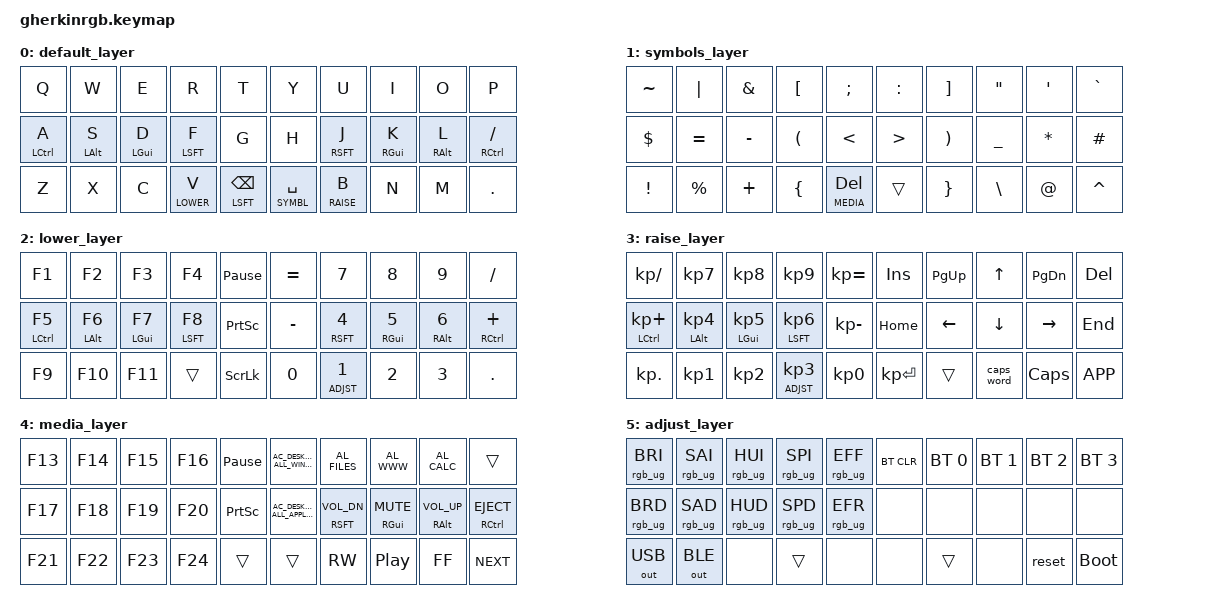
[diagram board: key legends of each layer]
/*
 * Copyright (c) 2021-22 purple-rw
 *
 * SPDX-License-Identifier: MIT
 */

#include <behaviors.dtsi>
#include <dt-bindings/zmk/keys.h>
#include <dt-bindings/zmk/bt.h>
#include <dt-bindings/zmk/outputs.h>
#include <dt-bindings/zmk/rgb.h>
#include <dt-bindings/zmk/backlight.h>

#define BASE  0     // alphas (Qwerty)
#define SYMBL 1     // symbols
#define LOWER 2     // functions & numbers
#define RAISE 3     // keypad & navigation
#define MEDIA 4     // functions2 & multimedia
#define ADJST 5     // lighting & bluetooth

// Special keys
#define ZOOMOUT      LA(LG(MINUS))
#define ZOOMIN       LA(LG(EQUAL))
#define M_UNDO       LG(Z)
#define M_CUT        LG(X)
#define M_COPY       LG(C)
#define M_PASTE      LG(V)
#define M_SELALL     LG(A)
#define M_TMUX       LC(T)
#define NON_US_TILDE LS(NON_US_HASH)
#define NON_US_PIPE  LS(NON_US_BSLH)

&lt {
    tapping-term-ms = <200>;
    quick_tap_ms = <200>;
    flavor = "balanced";
};

&mt {
    tapping-term-ms = <200>;
    quick_tap_ms = <200>;
    flavor = "balanced";
};

&caps_word {
    continue-list = <UNDERSCORE BACKSPACE DELETE MINUS DOT>;
};

/ {
    behaviors {
        hm: homerow_mods {
            compatible = "zmk,behavior-hold-tap";
            label = "HOMEROW_MODS";
            #binding-cells = <2>;
            flavor = "tap-preferred";
            tapping-term-ms = <200>;
            quick-tap-ms = <200>;
            bindings = <&kp>, <&kp>;
        };

        ph: positional_hold_tap {
            compatible = "zmk,behavior-hold-tap";
            label = "POSITIONAL_HOLD_TAP";
            #binding-cells = <2>;
            flavor = "tap-preferred";
            tapping-term-ms = <200>;
            quick-tap-ms = <200>;
            bindings = <&kp>, <&kp>;
            hold-trigger-key-positions = < 5  6  7  8  9
                                          15 16 17 18 19
                                                27 28 29>;
        };

        th: thumb_hold_tap {
            compatible = "zmk,behavior-hold-tap";
            label = "THUMB_HOLD_TAP";
            #binding-cells = <2>;
            flavor = "balanced";
            tapping-term-ms = <200>;
            quick-tap-ms = <0>;         // no key repeat
            bindings = <&mo>, <&kp>;
        };

        combos {
            compatible = "zmk,combos";
            
// Qwerty (Horizontal Combos)
// -------------------------------------------------------------
// |     |<-  Esc  ->|     |     |     |     |     |     |     |
// |     |     |     |<-   B   ->|<-   N   ->|     |     |     |
// |     |<-  Tab  ->|<- Bkspc ->|<- Space ->|<- Enter ->|     |
// -------------------------------------------------------------
            combo_esc   { timeout-ms = <50>; key-positions = < 1  2>; bindings = <&kp ESC>;   layers = <BASE SYMBL>; };
            combo_tab   { timeout-ms = <50>; key-positions = <21 22>; bindings = <&kp TAB>;   layers = <BASE SYMBL>; };
            combo_bspc  { timeout-ms = <50>; key-positions = <23 24>; bindings = <&kp BSPC>;  layers = <BASE SYMBL>; };
            combo_space { timeout-ms = <50>; key-positions = <25 26>; bindings = <&kp SPACE>; layers = <BASE SYMBL>; };
            combo_enter { timeout-ms = <50>; key-positions = <27 28>; bindings = <&kp ENTER>; layers = <BASE SYMBL>; };
            combo_v     { timeout-ms = <50>; key-positions = <13 14>; bindings = <&kp V>;     layers = <BASE>; };
            combo_k     { timeout-ms = <50>; key-positions = <15 16>; bindings = <&kp K>;     layers = <BASE>; };

// Symbols (Horizontal Combos)
// -------------------------------------------------------------
// |     |     |     |     |     |     |     |     |     |     |
// |     |     |     |<-   /   ->|<-   ?   ->|     |     |     |
// |     |     |     |     |     |     |     |     |     |     |
// -------------------------------------------------------------
            combo_fslh  { timeout-ms = <50>; key-positions = <13 14>; bindings = <&kp FSLH>;  layers = <SYMBL>; };
            combo_qmark { timeout-ms = <50>; key-positions = <15 16>; bindings = <&kp QMARK>; layers = <SYMBL>; };

// Functions & Numbers (Horizontal Combos)
// -------------------------------------------------------------
// |     |     |     |     |     |<-   *   ->|     |     |     |
// |     |     |     |<-  F12  ->|<-   :   ->|     |     |     |
// |     |     |     |     |     |     |     |     |     |     |
// -------------------------------------------------------------
            combo_f12   { timeout-ms = <50>; key-positions = <13 14>; bindings = <&kp F12>;   layers = <LOWER>; };
            combo_star  { timeout-ms = <50>; key-positions = < 5  6>; bindings = <&kp STAR>;  layers = <LOWER>; };
            combo_colon { timeout-ms = <50>; key-positions = <15 16>; bindings = <&kp COLON>; layers = <LOWER>; };

// Keypad & Navigation (Horizontal Combos)
// -------------------------------------------------------------
// |     |     |     |<- NumLk ->|     |    Zm-   Zm+    |     |
// |     |     |     |<-   *   ->|     |     |     |     |     |
// |     |     |     |     |     |     |     |     |     |     |
// -------------------------------------------------------------
            combo_kpnum { timeout-ms = <50>; key-positions = < 3  4>; bindings = <&kp KP_NUM>;      layers = <RAISE>; };
            combo_kpmul { timeout-ms = <50>; key-positions = <13 14>; bindings = <&kp KP_MULTIPLY>; layers = <RAISE>; };
            combo_zmout { timeout-ms = <50>; key-positions = < 6  7>; bindings = <&kp ZOOMOUT>;     layers = <RAISE>; };
            combo_zmin  { timeout-ms = <50>; key-positions = < 7  8>; bindings = <&kp ZOOMIN>;      layers = <RAISE>; };

// Functions2 & Multimedia (Horizontal Combos)
// -------------------------------------------------------------
// |     |     |     |     |     |     |     |     |     |     |
// |     |     |     |<- ScrLk ->|<- Prev  ->|     |     |     |
// |     |     |     |     |     |     |     |     |     |     |
// -------------------------------------------------------------
            combo_slck  { timeout-ms = <50>; key-positions = <13 14>; bindings = <&kp SLCK>;    layers = <MEDIA>; };
            combo_prev  { timeout-ms = <50>; key-positions = <15 16>; bindings = <&kp C_PREV>;  layers = <MEDIA>; };


// Bluetooth & RGB (Horizontal Combos)
// -------------------------------------------------------------
// |<- Disp+ ->|     |     |     |     |    BT4   BT5   BT6    |
// |<- Disp- ->|     |     |     |     |     |     |     |     |
// |     |     |     |     |<-RGBTogl->|     |     |     |     |
// -------------------------------------------------------------
            combo_bt4   { timeout-ms = <50>; key-positions = < 6  7>; bindings = <&bt BT_SEL 4>;    layers = <ADJST>; };
            combo_bt5   { timeout-ms = <50>; key-positions = < 7  8>; bindings = <&bt BT_SEL 5>;    layers = <ADJST>; };
            combo_bt6   { timeout-ms = <50>; key-positions = < 8  9>; bindings = <&bt BT_SEL 6>;    layers = <ADJST>; };

            combo_dpinc { timeout-ms = <50>; key-positions = < 1  2>; bindings = <&kp C_BRI_INC>;   layers = <ADJST>; };
            combo_dpdec { timeout-ms = <50>; key-positions = <11 12>; bindings = <&kp C_BRI_DEC>;   layers = <ADJST>; };
            
            combo_toggl { timeout-ms = <50>; key-positions = <24 25>; bindings = <&rgb_ug RGB_TOG>; layers = <ADJST>; };
        };
    };

    keymap {
        compatible = "zmk,keymap";

        default_layer {
// (Hold)
// -------------------------------------------------------------
// |     |     |     |     |     |     |     |     |     |     |
// |LCtrl| LAlt| LGui|Shift|     |     |Shift| RGui| RAlt|RCtrl|
// |     |     |     |LOWER|LShft|SYMBL|RAISE|     |     |     |
// -------------------------------------------------------------
// Qwerty
// -------------------------------------------------------------
// |  Q  |  W  |  E  |  R  |  T  |  Y  |  U  |  I  |  O  |  P  |
// |  A  |  S  |  D  |  F  |  G  |  H  |  J  |  K  |  L  |  ;  |
// |  Z  |  X  |  C  |  V  |BkSpc|Space|  B  |  N  |  M  |  .  |
// -------------------------------------------------------------
            bindings = < 
    &kp Q       &kp W       &kp E       &kp R       &kp T         &kp Y           &kp U       &kp I       &kp O       &kp P
    &hm LCTRL A &hm LALT S  &hm LGUI D  &hm LSFT F  &kp G         &kp H           &hm RSFT J  &hm RGUI K  &hm RALT L  &hm RCTRL FSLH
    &kp Z       &kp X       &kp C       &lt LOWER V &mt LSFT BSPC &th SYMBL SPACE &lt RAISE B &kp N   &kp M  &kp DOT
            >;
        } ;
        
        symbols_layer {
// symbols
// -------------------------------------------------------------
// |  ~  |  |  |  &  |  [  |  ;  |  :  |  ]  |  "  |  '  |  `  |
// |  $  |  =  |  -  |  (  |  <  |  >  |  )  |  _  |  *  |  #  |
// |  !  |  %  |  +  |  {  | Del | *** |  }  |  \  |  @  |  ^  |
// -------------------------------------------------------------
            bindings = <
    &kp TILDE   &kp PIPE    &kp AMPS    &kp LBKT    &kp SEMI      &kp COLON   &kp RBKT    &kp DQT     &kp SQT     &kp GRAVE 
    &kp DLLR    &kp EQUAL   &kp MINUS   &kp LPAR    &kp LT        &kp GT      &kp RPAR    &kp UNDER   &kp STAR    &kp HASH
    &kp EXCL    &kp PRCNT   &kp PLUS    &kp LBRC    &lt MEDIA DEL &trans      &kp RBRC    &kp BSLH    &kp AT      &kp CARET
            >;
        };

        lower_layer {
// functions & numbers
// -------------------------------------------------------------
// | F1  | F2  | F3  | F4  |Pause|  =  |  7  |  8  |  9  |  /  |
// | F5  | F6  | F7  | F8  |PrnSc|  -  |  4  |  5  |  6  |  +  |
// | F9  | F10 | F11 | *** |ScrLk|  0  |  1  |  2  |  3  |  .  |
// -------------------------------------------------------------
            bindings = <
    &kp F1       &kp F2       &kp F3       &kp F4       &kp PAUSE_BREAK &kp EQUAL    &kp N7       &kp N8       &kp N9       &kp FSLH
    &hm LCTRL F5 &hm LALT F6  &hm LGUI F7  &hm LSFT F8  &kp PSCRN       &kp MINUS    &hm RSFT N4  &hm RGUI N5  &hm RALT N6  &hm RCTRL PLUS
    &kp F9       &kp F10      &kp F11      &trans       &kp SLCK        &kp N0       &lt ADJST N1 &kp N2       &kp N3       &kp DOT
            >;
        };

        raise_layer {
// keypad & navigation
// -------------------------------------------------------------
// |  /  |  7  |  8  |  9  |  =  | Ins |PgUp | Up  |PgDn | Del |
// |  +  |  4  |  5  |  6  |  -  |Home |Left |Down |Right| End |
// |  .  |  1  |  2  |  3  |  0  |Enter| *** |CapWd|CapLk|Menu |
// -------------------------------------------------------------
            bindings = <
    &kp KP_DIVIDE     &kp KP_N7      &kp KP_N8      &kp KP_N9       &kp KP_EQUAL &kp INS      &kp PG_UP   &kp UP     &kp PG_DN  &kp DEL
    &ph LCTRL KP_PLUS &ph LALT KP_N4 &ph LGUI KP_N5 &ph LSFT KP_N6  &kp KP_MINUS &kp HOME     &kp LEFT    &kp DOWN   &kp RIGHT  &kp END
    &kp KP_DOT        &kp KP_N1      &kp KP_N2      &lt ADJST KP_N3 &kp KP_N0    &kp KP_ENTER &trans      &caps_word &kp CAPS   &kp K_APP
            >;
        };

        media_layer {
// Functions2 & Multimedia
// -------------------------------------------------------------
// | F13 | F14 | F15 | F16 |Pause|AlWin|Files| WWW |Calc |     |
// | F17 | F18 | F19 | F20 |PrnSc|AlApp|Vol- |Mute |Vol+ |Eject|
// | F21 | F22 | F23 | F24 | *** | *** |Rewnd|Play |FFwd |Next |
// -------------------------------------------------------------
            bindings = <
    &kp F13      &kp F14      &kp F15      &kp F16      &kp PAUSE_BREAK &kp C_AC_DESKTOP_SHOW_ALL_WINDOWS      &kp C_AL_FILES    &kp C_AL_WWW    &kp C_AL_CALC     &trans      
    &kp F17      &kp F18      &kp F19      &kp F20      &kp PSCRN       &kp C_AC_DESKTOP_SHOW_ALL_APPLICATIONS &hm RSFT C_VOL_DN &hm RGUI C_MUTE &hm RALT C_VOL_UP &hm RCTRL C_EJECT
    &kp F21      &kp F22      &kp F23      &kp F24      &trans          &trans                                 &kp C_RW          &kp C_PP        &kp C_FF          &kp C_NEXT
            >;
        };

        adjust_layer {
/*
// -------------------------------------------------------------
// |Bri+ |     |     |     |Toggl|BTClr| BT0 | BT1 | BT2 | BT3 |
// |Bri- |     |     |     |     |     |     |     |     |     |
// | USB | BLE |     | *** |     |     | *** |     |Reset|BootL|
// -------------------------------------------------------------
            bindings = <
    &bl BL_INC   &none        &none   &none   &bl BL_TOG &bt BT_CLR &bt BT_SEL 0 &bt BT_SEL 1 &bt BT_SEL 2 &bt BT_SEL 3
    &bl BL_DEC   &none        &none   &none   &none      &none      &none        &none        &none        &none
    &out OUT_USB &out OUT_BLE &none   &trans  &none      &none      &trans       &none        &reset       &bootloader
            >;
*/
//  v----------- RGB -----------v
// -------------------------------------------------------------
// |Bri+ |Sat+ |Hue+ |Spd+ |Ani+ |BTClr| BT0 | BT1 | BT2 | BT3 |
// |Bri- |Sat- |Hue- |Spd- |Ani- |     |     |     |     |     |
// | USB | BLE |     | *** |     |     | *** |     |Reset|BootL|
// -------------------------------------------------------------
            bindings = <
    &rgb_ug RGB_BRI &rgb_ug RGB_SAI &rgb_ug RGB_HUI &rgb_ug RGB_SPI &rgb_ug RGB_EFF &bt BT_CLR &bt BT_SEL 0 &bt BT_SEL 1 &bt BT_SEL 2 &bt BT_SEL 3
    &rgb_ug RGB_BRD &rgb_ug RGB_SAD &rgb_ug RGB_HUD &rgb_ug RGB_SPD &rgb_ug RGB_EFR &none      &none        &none        &none        &none
    &out OUT_USB    &out OUT_BLE    &none           &trans          &none           &none      &trans       &none        &reset       &bootloader
            >;

        };
    };
};
